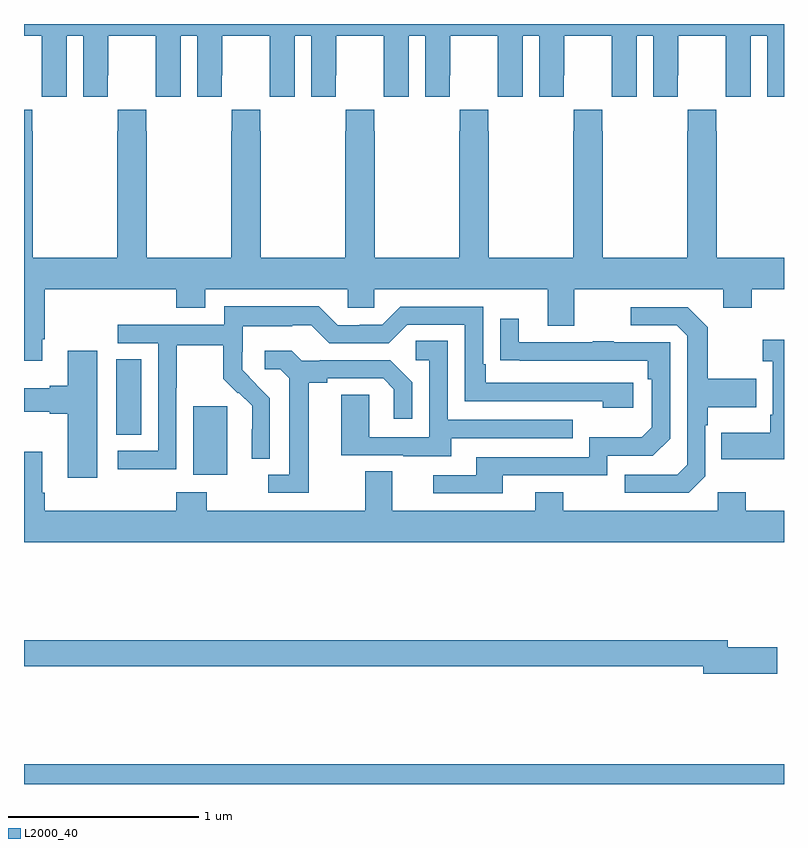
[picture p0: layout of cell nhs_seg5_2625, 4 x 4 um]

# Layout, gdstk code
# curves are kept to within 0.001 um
import gdstk
lib = gdstk.Library(unit=1e-6, precision=1e-09)
def R(c, l, rs):  # rectangles x0, y0, x1, y1
    for r in rs: c.add(gdstk.rectangle(r[:2], r[2:], *l))
def P(c, l, *ps):  # polygons
    for p in ps: c.add(gdstk.Polygon(p, *l))
L2000_40 = (2000, 40)

nhs_seg5_2625 = lib.new_cell('nhs_seg5_2625')
R(nhs_seg5_2625, L2000_40, [(263,876.799,267,876.904), (263.891,878.426,264.07,878.787), (263.486,878.638,263.617,879.035)])
P(nhs_seg5_2625, L2000_40, [(264.293,880.528),(264.294,880.528),(264.294,880.416),(264.424,880.416),(264.424,880.736),(264.512,880.736),(264.512,880.416),(264.642,880.416),(264.642,880.528),(264.643,880.528),(264.643,880.736),(264.893,880.736),(264.893,880.528),(264.894,880.528),(264.894,880.416),(265.024,880.416),(265.024,880.736),(265.112,880.736),(265.112,880.416),(265.242,880.416),(265.242,880.528),(265.243,880.528),(265.243,880.736),(265.493,880.736),(265.493,880.528),(265.494,880.528),(265.494,880.416),(265.624,880.416),(265.624,880.736),(265.712,880.736),(265.712,880.416),(265.842,880.416),(265.842,880.528),(265.843,880.528),(265.843,880.736),(266.093,880.736),(266.093,880.528),(266.094,880.528),(266.094,880.416),(266.224,880.416),(266.224,880.736),(266.312,880.736),(266.312,880.416),(266.442,880.416),(266.442,880.528),(266.443,880.528),(266.443,880.736),(266.693,880.736),(266.693,880.528),(266.694,880.528),(266.694,880.416),(266.824,880.416),(266.824,880.736),(266.912,880.736),(266.912,880.416),(267,880.416),(267,880.799),(263,880.799),(263,880.736),(263.093,880.736),(263.093,880.528),(263.094,880.528),(263.094,880.416),(263.224,880.416),(263.224,880.736),(263.312,880.736),(263.312,880.416),(263.442,880.416),(263.442,880.528),(263.443,880.528),(263.443,880.736),(263.693,880.736),(263.693,880.528),(263.694,880.528),(263.694,880.416),(263.824,880.416),(263.824,880.736),(263.912,880.736),(263.912,880.416),(264.042,880.416),(264.042,880.528),(264.043,880.528),(264.043,880.736),(264.293,880.736)],
  [(263.095,879.139),(263.108,879.139),(263.108,879.404),(263.801,879.404),(263.801,879.305),(263.953,879.305),(263.953,879.404),(264.705,879.404),(264.705,879.306),(264.843,879.306),(264.843,879.404),(265.757,879.404),(265.757,879.21),(265.897,879.21),(265.897,879.404),(266.681,879.404),(266.681,879.305),(266.829,879.305),(266.829,879.404),(267,879.404),(267,879.568),(266.646,879.568),(266.646,880.235),(266.643,880.235),(266.643,880.348),(266.493,880.348),(266.493,880.235),(266.491,880.235),(266.491,879.568),(266.046,879.568),(266.046,880.235),(266.043,880.235),(266.043,880.348),(265.893,880.348),(265.893,880.235),(265.891,880.235),(265.891,879.568),(265.446,879.568),(265.446,880.235),(265.443,880.235),(265.443,880.348),(265.293,880.348),(265.293,880.235),(265.291,880.235),(265.291,879.568),(264.846,879.568),(264.846,880.235),(264.843,880.235),(264.843,880.348),(264.693,880.348),(264.693,880.235),(264.691,880.235),(264.691,879.568),(264.246,879.568),(264.246,880.235),(264.243,880.235),(264.243,880.348),(264.093,880.348),(264.093,880.235),(264.091,880.235),(264.091,879.568),(263.646,879.568),(263.646,880.235),(263.643,880.235),(263.643,880.348),(263.493,880.348),(263.493,880.235),(263.491,880.235),(263.491,879.568),(263.046,879.568),(263.046,880.235),(263.043,880.235),(263.043,880.348),(263,880.348),(263,879.027),(263.095,879.027)],
  [(263.802,878.884),(263.805,878.884),(263.805,879.108),(264.049,879.108),(264.049,878.933),(264.126,878.856),(264.129,878.859),(264.2,878.789),(264.2,878.666),(264.198,878.666),(264.198,878.512),(264.294,878.512),(264.294,878.83),(264.148,878.978),(264.148,879.075),(264.15,879.075),(264.15,879.209),(264.413,879.209),(264.413,879.213),(264.513,879.213),(264.606,879.12),(264.921,879.12),(265.017,879.216),(265.32,879.216),(265.32,878.814),(266.045,878.814),(266.045,878.78),(266.206,878.78),(266.206,878.91),(265.429,878.91),(265.429,879.007),(265.416,879.007),(265.416,879.312),(264.981,879.312),(264.885,879.216),(264.767,879.216),(264.767,879.213),(264.651,879.213),(264.551,879.313),(264.054,879.313),(264.054,879.216),(263.493,879.216),(263.493,879.12),(263.706,879.12),(263.706,878.553),(263.493,878.553),(263.493,878.455),(263.802,878.455)],
  [(266.586,878.418),(266.586,878.687),(266.599,878.687),(266.599,878.783),(266.855,878.783),(266.855,878.931),(266.599,878.931),(266.599,879.203),(266.493,879.309),(266.193,879.309),(266.193,879.213),(266.436,879.213),(266.49,879.159),(266.49,878.478),(266.439,878.427),(266.163,878.427),(266.163,878.331),(266.499,878.331)],
  [(265.519,878.424),(266.07,878.424),(266.07,878.526),(266.31,878.526),(266.4,878.616),(266.4,879.123),(266.105,879.123),(266.105,879.128),(265.993,879.128),(265.993,879.123),(265.603,879.123),(265.603,879.247),(265.507,879.247),(265.507,879.028),(266.284,879.027),(266.284,878.93),(266.304,878.93),(266.304,878.676),(266.251,878.623),(265.974,878.623),(265.974,878.52),(265.379,878.52),(265.379,878.424),(265.155,878.424),(265.155,878.328),(265.519,878.328)],
  [(267,879.136),(266.889,879.136),(266.889,879.023),(266.94,879.023),(266.94,878.743),(266.928,878.743),(266.928,878.647),(266.671,878.647),(266.671,878.507),(267,878.507)],
  [(265.249,878.619),(265.889,878.619),(265.889,878.715),(265.23,878.715),(265.23,879.131),(265.062,879.131),(265.062,879.03),(265.134,879.03),(265.134,878.625),(264.816,878.625),(264.816,878.849),(264.671,878.849),(264.671,878.529),(264.995,878.529),(264.995,878.525),(265.249,878.525)],
  [(264.499,878.912),(264.595,878.912),(264.595,878.934),(264.89,878.934),(264.947,878.877),(264.947,878.721),(265.044,878.721),(265.044,878.914),(264.928,879.03),(264.556,879.03),(264.556,879.027),(264.462,879.027),(264.41,879.079),(264.267,879.079),(264.267,878.982),(264.348,878.982),(264.395,878.935),(264.395,878.427),(264.285,878.427),(264.285,878.331),(264.499,878.331)],
  [(263.386,879.079),(263.231,879.079),(263.231,878.894),(263.135,878.894),(263.135,878.881),(263,878.881),(263,878.759),(263.135,878.759),(263.135,878.747),(263.231,878.747),(263.231,878.412),(263.386,878.412)],
  [(267,878.236),(266.799,878.236),(266.799,878.335),(266.652,878.335),(266.652,878.236),(265.839,878.236),(265.839,878.335),(265.691,878.335),(265.691,878.236),(264.937,878.236),(264.937,878.444),(264.797,878.444),(264.797,878.236),(263.961,878.236),(263.961,878.335),(263.801,878.335),(263.801,878.236),(263.108,878.236),(263.108,878.332),(263.095,878.332),(263.095,878.548),(263,878.548),(263,878.072),(267,878.072)],
  [(266.965,877.52),(266.704,877.52),(266.704,877.556),(263,877.556),(263,877.42),(266.576,877.42),(266.576,877.378),(266.965,877.378)])

lib.write_gds('nhs_seg5_2625.gds')
